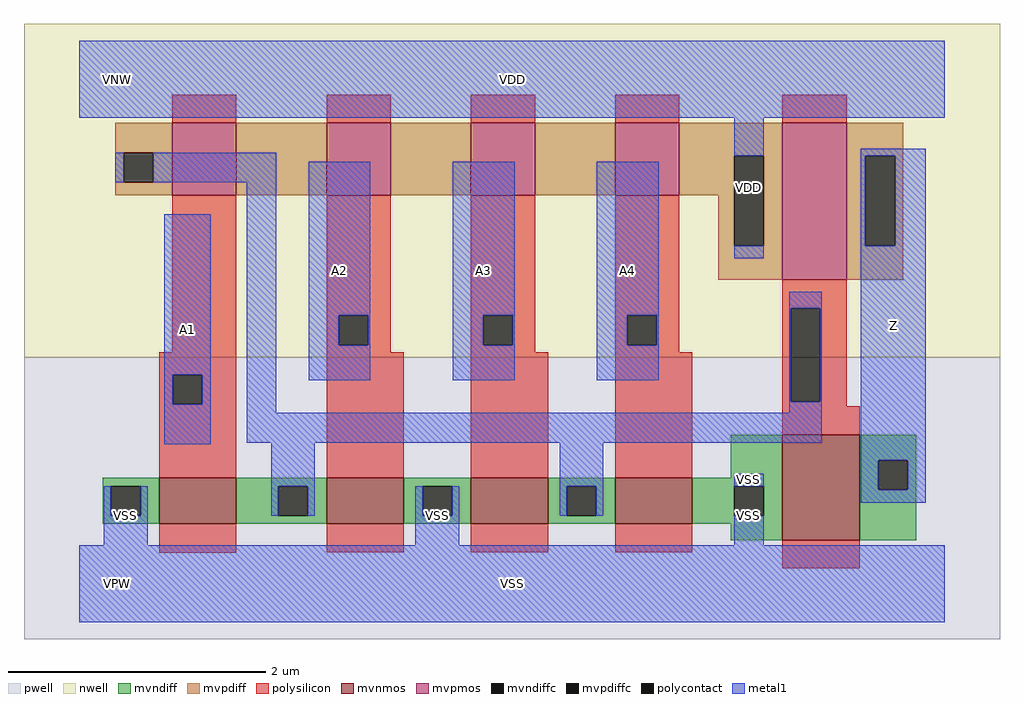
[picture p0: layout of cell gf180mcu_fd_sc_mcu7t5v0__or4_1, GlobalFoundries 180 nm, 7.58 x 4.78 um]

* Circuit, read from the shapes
.subckt gf180mcu_fd_sc_mcu7t5v0__or4_1 A1 A2 A3 A4 Z VDD VNW VPW VSS
XM1 n1 A1 VSS VPW nfet_06v0 w=0.36u l=0.6u
XM2 VSS A2 n1 VPW nfet_06v0 w=0.36u l=0.6u
XM3 n1 A3 VSS VPW nfet_06v0 w=0.36u l=0.6u
XM4 VSS A4 n1 VPW nfet_06v0 w=0.36u l=0.6u
XM5 Z n1 VSS VPW nfet_06v0 w=0.82u l=0.6u
XM6 n2 A1 n1 VNW pfet_06v0 w=0.56u l=0.5u
XM7 n3 A2 n2 VNW pfet_06v0 w=0.56u l=0.5u
XM8 n4 A3 n3 VNW pfet_06v0 w=0.56u l=0.5u
XM9 VDD A4 n4 VNW pfet_06v0 w=0.56u l=0.5u
XM10 Z n1 VDD VNW pfet_06v0 w=1.22u l=0.5u
.ends

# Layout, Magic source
magic
tech gf180mcuD
magscale 1 10
<< nwell >>
rect -86 352 1430 870
<< pwell >>
rect -86 -86 1430 352
<< mvnmos >>
rect 124 93 244 165
rect 384 93 504 165
rect 608 93 728 165
rect 832 93 952 165
rect 1092 68 1212 232
<< mvpmos >>
rect 144 604 244 716
rect 384 604 484 716
rect 608 604 708 716
rect 832 604 932 716
rect 1092 472 1192 716
<< mvndiff >>
rect 1012 165 1092 232
rect 36 152 124 165
rect 36 106 49 152
rect 95 106 124 152
rect 36 93 124 106
rect 244 152 384 165
rect 244 106 309 152
rect 355 106 384 152
rect 244 93 384 106
rect 504 152 608 165
rect 504 106 533 152
rect 579 106 608 152
rect 504 93 608 106
rect 728 152 832 165
rect 728 106 757 152
rect 803 106 832 152
rect 728 93 832 106
rect 952 152 1092 165
rect 952 106 1017 152
rect 1063 106 1092 152
rect 952 93 1092 106
rect 1012 68 1092 93
rect 1212 192 1300 232
rect 1212 146 1241 192
rect 1287 146 1300 192
rect 1212 68 1300 146
<< mvpdiff >>
rect 56 670 144 716
rect 56 624 69 670
rect 115 624 144 670
rect 56 604 144 624
rect 244 604 384 716
rect 484 604 608 716
rect 708 604 832 716
rect 932 665 1092 716
rect 932 604 1017 665
rect 992 525 1017 604
rect 1063 525 1092 665
rect 992 472 1092 525
rect 1192 665 1280 716
rect 1192 525 1221 665
rect 1267 525 1280 665
rect 1192 472 1280 525
<< mvndiffc >>
rect 49 106 95 152
rect 309 106 355 152
rect 533 106 579 152
rect 757 106 803 152
rect 1017 106 1063 152
rect 1241 146 1287 192
<< mvpdiffc >>
rect 69 624 115 670
rect 1017 525 1063 665
rect 1221 525 1267 665
<< polysilicon >>
rect 144 716 244 760
rect 384 716 484 760
rect 608 716 708 760
rect 832 716 932 760
rect 1092 716 1192 760
rect 144 360 244 604
rect 124 325 244 360
rect 124 279 145 325
rect 191 279 244 325
rect 124 165 244 279
rect 384 417 484 604
rect 384 371 403 417
rect 449 371 484 417
rect 384 360 484 371
rect 608 417 708 604
rect 608 371 627 417
rect 673 371 708 417
rect 608 360 708 371
rect 832 417 932 604
rect 832 371 851 417
rect 897 371 932 417
rect 832 360 932 371
rect 1092 428 1192 472
rect 384 165 504 360
rect 608 165 728 360
rect 832 165 952 360
rect 1092 283 1105 428
rect 1151 283 1192 428
rect 1092 276 1192 283
rect 1092 232 1212 276
rect 124 48 244 93
rect 384 49 504 93
rect 608 49 728 93
rect 832 49 952 93
rect 1092 24 1212 68
<< polycontact >>
rect 145 279 191 325
rect 403 371 449 417
rect 627 371 673 417
rect 851 371 897 417
rect 1105 283 1151 428
<< metal1 >>
rect 0 724 1344 844
rect 56 624 69 670
rect 115 624 306 670
rect 1017 665 1063 724
rect 132 325 204 574
rect 132 279 145 325
rect 191 279 204 325
rect 132 217 204 279
rect 260 266 306 624
rect 356 417 452 656
rect 356 371 403 417
rect 449 371 452 417
rect 356 316 452 371
rect 580 417 676 656
rect 580 371 627 417
rect 673 371 676 417
rect 580 316 676 371
rect 804 417 900 656
rect 1017 506 1063 525
rect 1214 665 1315 676
rect 1214 525 1221 665
rect 1267 525 1315 665
rect 804 371 851 417
rect 897 371 900 417
rect 804 316 900 371
rect 1103 428 1153 454
rect 1103 283 1105 428
rect 1151 283 1153 428
rect 1103 266 1153 283
rect 260 219 1153 266
rect 298 152 366 219
rect 746 152 814 219
rect 1214 192 1315 525
rect 38 106 49 152
rect 95 106 106 152
rect 298 106 309 152
rect 355 106 366 152
rect 522 106 533 152
rect 579 106 590 152
rect 746 106 757 152
rect 803 106 814 152
rect 1017 152 1063 171
rect 1214 146 1241 192
rect 1287 146 1315 192
rect 1214 126 1315 146
rect 38 60 106 106
rect 522 60 590 106
rect 1017 60 1063 106
rect 0 -60 1344 60
<< labels >>
flabel metal1 s 580 316 676 656 0 FreeSans 400 0 0 0 A3
port 3 nsew default input
flabel metal1 s 804 316 900 656 0 FreeSans 400 0 0 0 A4
port 4 nsew default input
flabel metal1 s 0 724 1344 844 0 FreeSans 400 0 0 0 VDD
port 6 nsew power bidirectional abutment
flabel metal1 s 1017 152 1063 171 0 FreeSans 400 0 0 0 VSS
port 9 nsew ground bidirectional abutment
flabel metal1 s 1214 126 1315 676 0 FreeSans 400 0 0 0 Z
port 5 nsew default output
flabel metal1 s 132 217 204 574 0 FreeSans 400 0 0 0 A1
port 1 nsew default input
flabel metal1 s 356 316 452 656 0 FreeSans 400 0 0 0 A2
port 2 nsew default input
flabel nwell s 10 734 110 834 0 FreeSans 400 0 0 0 VNW
port 7 nsew power bidirectional
flabel pwell s 10 -50 110 50 0 FreeSans 400 0 0 0 VPW
port 8 nsew ground bidirectional
rlabel metal1 s 1017 506 1063 724 1 VDD
port 6 nsew power bidirectional abutment
rlabel metal1 s 1017 60 1063 152 1 VSS
port 9 nsew ground bidirectional abutment
rlabel metal1 s 522 60 590 152 1 VSS
port 9 nsew ground bidirectional abutment
rlabel metal1 s 38 60 106 152 1 VSS
port 9 nsew ground bidirectional abutment
rlabel metal1 s 0 -60 1344 60 1 VSS
port 9 nsew ground bidirectional abutment
<< properties >>
string FIXED_BBOX 0 0 1344 784
string GDS_END 171722
string GDS_FILE $PDKPATH/libs.ref/gf180mcu_fd_sc_mcu7t5v0/gds/gf180mcu_fd_sc_mcu7t5v0.gds
string GDS_START 167964
string LEFclass core
string LEFsite GF018hv5v_mcu_sc7
string LEFsymmetry X Y
<< end >>
